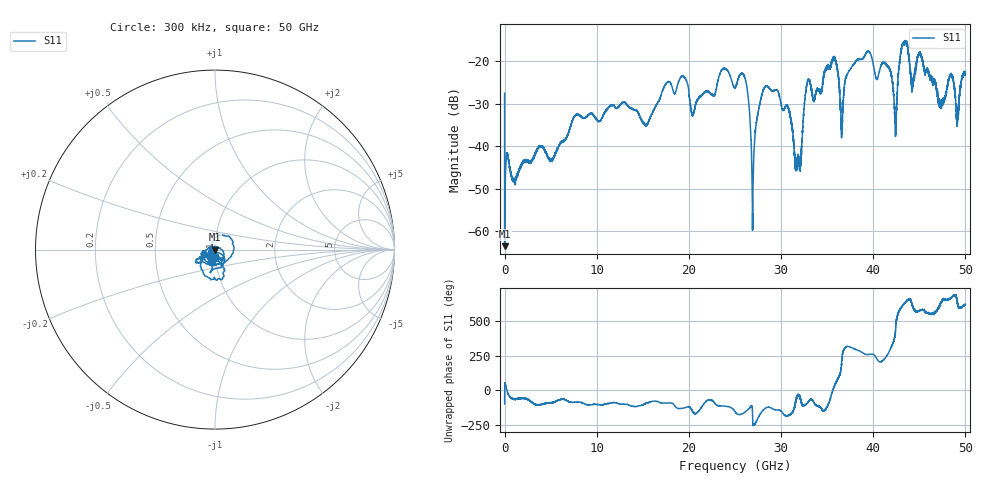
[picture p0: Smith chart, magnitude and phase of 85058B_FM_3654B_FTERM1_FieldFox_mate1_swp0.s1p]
!Created with skrf (http://scikit-rf.org).
# Hz S RI R 50.0
!freq ReS11 ImS11
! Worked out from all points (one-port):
!   10001 points, 300 kHz to 50 GHz, reference 50 ohm
!   lowest |S11| = -63.5 dB at 5.3 MHz (marker M1), VSWR 1.00, Z = 50 - j0.0466 ohm
!   |S11| at or under -10 dB: start of sweep to end of sweep
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300000  -0.00586 -0.0417
5299970  0.000483 -0.000466
1.010294e9  0.00175 -0.00348
6.250262e9  0.00507 -0.0102
1.250022e10  -0.00447 -0.03
1.536521e10  -0.000537 -0.0177
1.875019e10  -0.033 -0.04
2.043018e10  -0.0216 -0.00961
2.371016e10  -0.0315 -0.0752
2.500015e10  -0.0435 -0.0218
2.614014e10  -0.0536 -0.0261
2.694014e10  -0.00135 0.00246
2.832513e10  -0.0306 -0.04
3.125011e10  -0.0133 -0.00642
3.190011e10  0.00565 -0.00409
3.29301e10  0.00573 -0.0605
3.578009e10  0.0895 0.0534
3.658508e10  -0.0126 -0.00737
3.750008e10  0.0543 -0.0593
4.136505e10  -0.0488 -0.0785
4.239005e10  0.0109 0.0156
4.311004e10  -0.0648 -0.1311
4.375004e10  0.049 -0.1367
4.423003e10  -0.0129 -0.0487
4.727502e10  -0.0062 -0.0295
4.845001e10  0.0458 -0.0549
4.915501e10  -0.00401 -0.0232
5e10  -0.013 -0.0709
